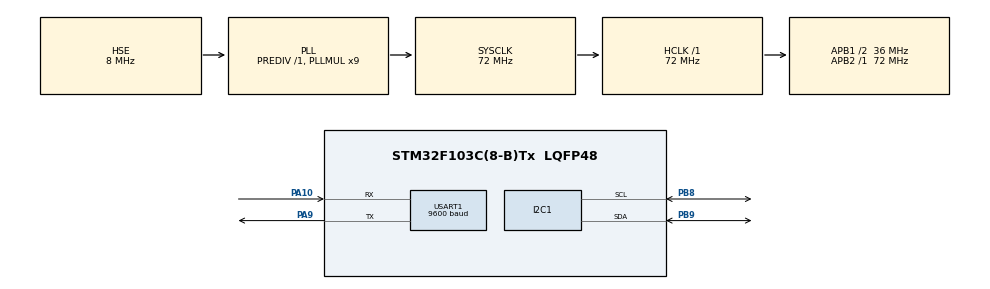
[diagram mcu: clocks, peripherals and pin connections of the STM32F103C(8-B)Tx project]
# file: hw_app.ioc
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Mcu.Family=STM32F1
Mcu.Name=STM32F103C(8-B)Tx
Mcu.Package=LQFP48
NVIC.PriorityGroup=NVIC_PRIORITYGROUP_4
PA10.Mode=Asynchronous
PA10.Signal=USART1_RX
PA13.Mode=Serial_Wire
PA13.Signal=SYS_JTMS-SWDIO
PA14.Mode=Serial_Wire
PA14.Signal=SYS_JTCK-SWCLK
PA9.Mode=Asynchronous
PA9.Signal=USART1_TX
PB8.Mode=I2C
PB8.Signal=I2C1_SCL
PB9.Mode=I2C
PB9.Signal=I2C1_SDA
PD0-OSC_IN.Mode=HSE-External-Oscillator
PD0-OSC_IN.Signal=RCC_OSC_IN
PD1-OSC_OUT.Mode=HSE-External-Oscillator
PD1-OSC_OUT.Signal=RCC_OSC_OUT
ProjectManager.HeapSize=0x200
ProjectManager.StackSize=0x400
ProjectManager.TargetToolchain=MDK-ARM V5
RCC.AHBFreq_Value=72000000
RCC.APB1CLKDivider=RCC_HCLK_DIV2
RCC.APB1Freq_Value=36000000
RCC.APB1TimFreq_Value=72000000
RCC.APB2Freq_Value=72000000
RCC.APB2TimFreq_Value=72000000
RCC.HCLKFreq_Value=72000000
RCC.PLLMUL=RCC_PLL_MUL9
RCC.PLLSourceVirtual=RCC_PLLSOURCE_HSE
RCC.SYSCLKFreq_VALUE=72000000
RCC.SYSCLKSource=RCC_SYSCLKSOURCE_PLLCLK
RCC.USBFreq_Value=72000000
USART1.BaudRate=9600
USART1.VirtualMode=VM_ASYNC
board=custom

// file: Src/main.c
/* USER CODE BEGIN Header */
/**
  ******************************************************************************
  * @file           : main.c
  * @brief          : Main program body
  ******************************************************************************
  * @attention
  *
  * <h2><center>&copy; Copyright (c) 2019 STMicroelectronics.
  * All rights reserved.</center></h2>
  *
  * This software component is licensed by ST under BSD 3-Clause license,
  * the "License"; You may not use this file except in compliance with the
  * License. You may obtain a copy of the License at:
  *                        opensource.org/licenses/BSD-3-Clause
  *
  ******************************************************************************
  */
/* USER CODE END Header */

#include "main.h"
#include "i2c.h"
#include "usart.h"
#include "gpio.h"

/* USER CODE BEGIN Includes */
#include "stdio.h"
/* USER CODE END Includes */

void SystemClock_Config(void);

int main(void)
{
  /* USER CODE BEGIN 1 */
//	int16_t val,ReadyorNot;
	uint8_t buf[2];
	uint8_t word_buf[32];
	int32_t temp,humi;
  /* USER CODE END 1 */

  /* MCU Configuration--------------------------------------------------------*/

  /* Reset of all peripherals, Initializes the Flash interface and the Systick. */
  HAL_Init();

  /* Configure the system clock */
  SystemClock_Config();

  /* Initialize all configured peripherals */
  MX_GPIO_Init();
  MX_I2C1_Init();
  MX_USART1_UART_Init();
  /* USER CODE BEGIN 2 */
	printf("-----get iic info----\n");
//	val = HAL_I2C_GetState(&hi2c1);

//	printf("%x\r\n",val);

  /* USER CODE END 2 */

  /* Infinite loop */
  while (1)
  {

    /* USER CODE BEGIN 3 */
		if(HAL_I2C_IsDeviceReady(&hi2c1,(uint16_t)(0x44 << 1),2,100) == HAL_OK){
			printf("i2c get ready\r\n");
			if(HAL_I2C_Master_Transmit(&hi2c1,(uint16_t)(0x44<<1),buf,2,100) == HAL_OK){
				HAL_Delay(20);
				if(HAL_I2C_Master_Receive(&hi2c1,(uint16_t)(0x44<<1),word_buf,6,100) == HAL_OK){
					HAL_Delay(50);
					temp = ((21875 * (int32_t)word_buf[0]) >> 13) - 45000;
					humi = ((12500 * (int32_t)word_buf[1]) >> 13);
					printf("%0.2f,%0.2f\r\n",temp / 1000.0f,
                      humi / 1000.0f);
				}
			}
		}else{
			printf("i2c get error!please check i2c device!!!\r\n");
		}
  }
  /* USER CODE END 3 */
}

void SystemClock_Config(void)
{
  RCC_OscInitTypeDef RCC_OscInitStruct = {0};
  RCC_ClkInitTypeDef RCC_ClkInitStruct = {0};

  /** Initializes the CPU, AHB and APB busses clocks
  */
  RCC_OscInitStruct.OscillatorType = RCC_OSCILLATORTYPE_HSE;
  RCC_OscInitStruct.HSEState = RCC_HSE_ON;
  RCC_OscInitStruct.HSEPredivValue = RCC_HSE_PREDIV_DIV1;
  RCC_OscInitStruct.HSIState = RCC_HSI_ON;
  RCC_OscInitStruct.PLL.PLLState = RCC_PLL_ON;
  RCC_OscInitStruct.PLL.PLLSource = RCC_PLLSOURCE_HSE;
  RCC_OscInitStruct.PLL.PLLMUL = RCC_PLL_MUL9;
  if (HAL_RCC_OscConfig(&RCC_OscInitStruct) != HAL_OK)
  {
    Error_Handler();
  }
  /** Initializes the CPU, AHB and APB busses clocks
  */
  RCC_ClkInitStruct.ClockType = RCC_CLOCKTYPE_HCLK|RCC_CLOCKTYPE_SYSCLK
                              |RCC_CLOCKTYPE_PCLK1|RCC_CLOCKTYPE_PCLK2;
  RCC_ClkInitStruct.SYSCLKSource = RCC_SYSCLKSOURCE_PLLCLK;
  RCC_ClkInitStruct.AHBCLKDivider = RCC_SYSCLK_DIV1;
  RCC_ClkInitStruct.APB1CLKDivider = RCC_HCLK_DIV2;
  RCC_ClkInitStruct.APB2CLKDivider = RCC_HCLK_DIV1;

  if (HAL_RCC_ClockConfig(&RCC_ClkInitStruct, FLASH_LATENCY_2) != HAL_OK)
  {
    Error_Handler();
  }
}

void Error_Handler(void)
{
}

/************************ (C) COPYRIGHT STMicroelectronics *****END OF FILE****/
